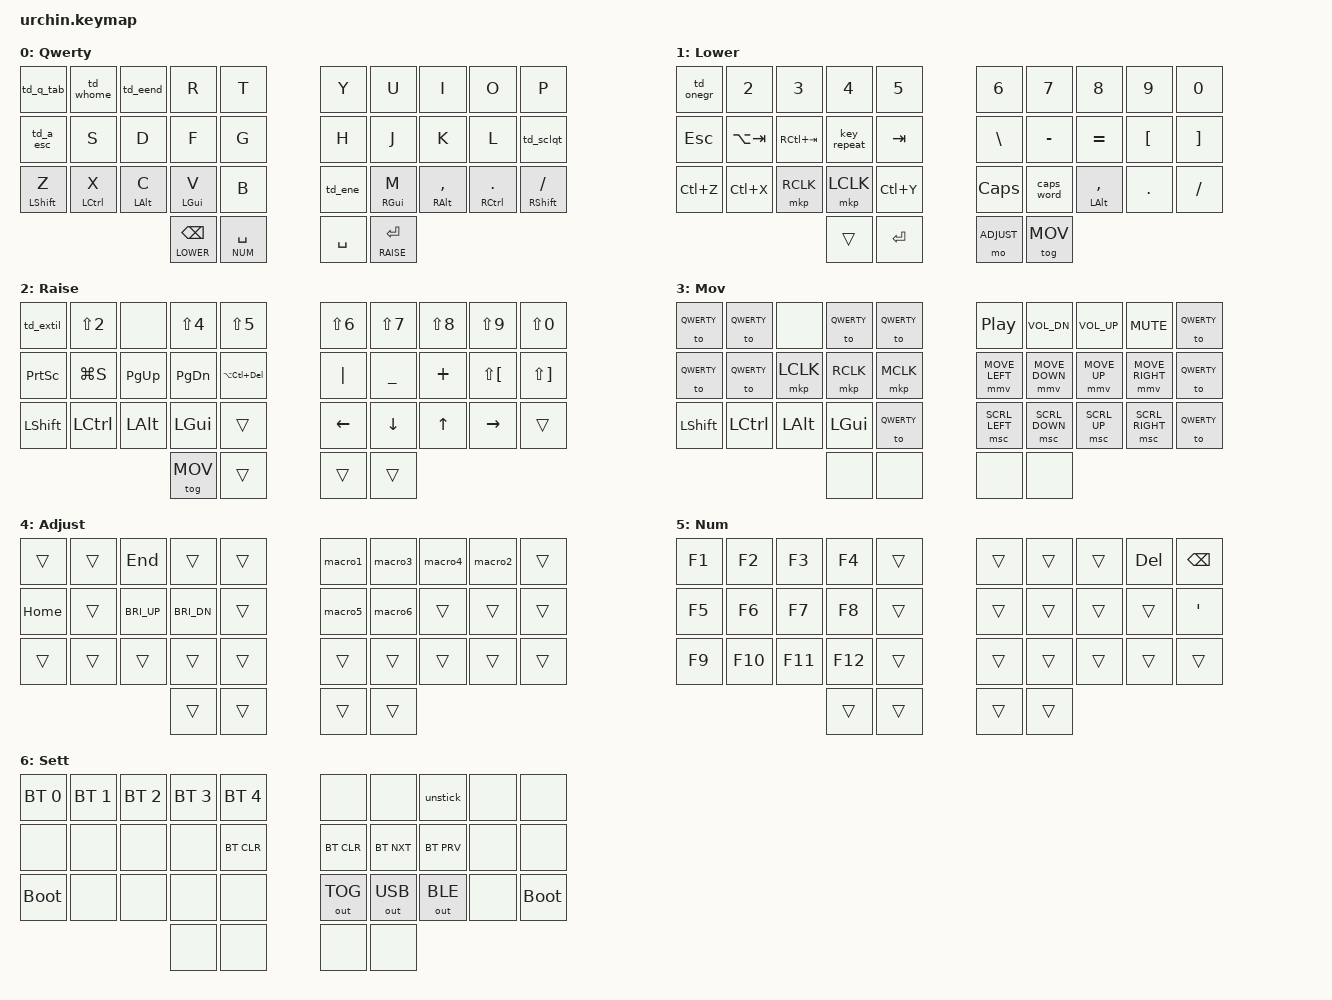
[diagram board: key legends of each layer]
/*
 * Copyright (c) 2020 duckyb
 *
 * SPDX-License-Identifier: MIT
 */

#include <behaviors.dtsi>
#include <dt-bindings/zmk/keys.h>
#include <dt-bindings/zmk/bt.h>
#include <dt-bindings/zmk/outputs.h>
#include <dt-bindings/zmk/pointing.h>

// Layer definitions
#define QWERTY 0
#define LOWER 1
#define RAISE 2
#define MOV 3
#define ADJUST 4
#define NUM 5
#define SETTINGS 6
// -----------------

&sk {
	// don't release mods on other mods presses
	ignore-modifiers;
};


/ {
	behaviors {
		// Enables holding the first mod-tap key
		// by performing a tap-release-hold sequence.
		// To use it: "&qt KEYCODE1 KEYCODE2"
		qt: quick_tap {
			compatible = "zmk,behavior-hold-tap";
			label = "QUICK_TAP";
			#binding-cells = <2>;
			flavor = "tap-preferred";
			tapping-term-ms = <200>;
			bindings = <&kp>, <&kp>;
		};
	};
	macros {
		// sometimes my device thinks a modifier is being held down
		// pressing all modifiers fixes it.
		unstick: unstick {
			label = "ZM_unstick";
			compatible = "zmk,behavior-macro";
			#binding-cells = <0>;
			bindings = <&kp LSHIFT &kp RSHIFT &kp LCTRL &kp RCTRL &kp LALT &kp RALT &kp LGUI &kp RGUI>;
		};

        macro1: macro_string_v1q {
            compatible = "zmk,behavior-macro";
            #binding-cells = <0>;
            bindings = <&kp V
                 &kp LS(N5)
                 &kp N1
                 &kp Q
                 &kp LS(N1)
                 &kp LS(T)
                 &kp LS(V)
                 &kp N6
                 &kp W
                 &kp LS(M)>;
        };

        macro2: macro_string_one {
            compatible = "zmk,behavior-macro";
            #binding-cells = <0>;
            bindings = <&kp Y &kp N0 &kp N4 &kp N5 &kp N7 &kp N5 &kp N9 &kp N5 &kp R
                    &kp LS(H) &kp N3 &kp C &kp T &kp N0 &kp R
                    &kp LS(R) &kp N3 &kp N4 &kp L &kp P &kp N3
                    &kp LS(C) &kp N4 &kp S &kp T &kp R &kp N1 &kp L &kp L &kp N0>;
        };

        macro3: macro_password_one {
            compatible = "zmk,behavior-macro";
            #binding-cells = <0>;
            bindings = <&kp LS(Z) &kp N9
                    &kp LS(T) &kp N4 &kp J &kp H &kp N4
                    &kp LS(Z) &kp Q &kp H &kp DLLR
                    &kp LS(B) &kp F &kp P &kp LS(I)>;
        };

        macro4: macro_number_one {
            compatible = "zmk,behavior-macro";
            #binding-cells = <0>;
            bindings = <&kp N2 &kp N4 &kp N1 &kp N7 &kp N9 &kp N0 &kp N6>;
        };

        macro5: macro_string_two {
            compatible = "zmk,behavior-macro";
            #binding-cells = <0>;
            bindings = <&kp LS(B) &kp N3 &kp L &kp DLLR &kp N
                    &kp LS(R) &kp V &kp N1 &kp Z
                    &kp LS(F) &kp N3 &kp R &kp N &kp DLLR &kp N &kp D &kp N3 &kp Z>;
        };

        macro6: macro_string_three {
            compatible = "zmk,behavior-macro";
            #binding-cells = <0>;
            bindings = <&kp N3 &kp S &kp T &kp R &kp N3 &kp L &kp L &kp N4
                    &kp LS(R) &kp N3 &kp N4 &kp L &kp P &kp N3
                    &kp AMPS
                    &kp LS(R) &kp V &kp N1 &kp Z>;
        };
	};

	combos {
		compatible = "zmk,combos";
		// both left thumb keys
		combo_settings {
			timeout-ms = <200>;
			key-positions = <30 31>;
			bindings = <&mo SETTINGS>;
		};
        combo_num {
            timeout-ms = <200>;
            key-positions = <31 33>;
            bindings = <&mo ADJUST>;
        };
	};

    tap_dances {
        td_q_tab: td_q_tab {
            compatible = "zmk,behavior-tap-dance";
            label = "TD_Q_TAB";
            #binding-cells = <0>;
            tapping-term-ms = <215>;
            bindings = <&kp Q &kp TAB>;
        };
        td_a_esc: td_a_esc {
            compatible = "zmk,behavior-tap-dance";
            label = "TD_A_ESC";
            #binding-cells = <0>;
            tapping-term-ms = <215>;
            bindings = <&kp A &kp ESC>;
        };
        td_onegr: td_onegr {
            compatible = "zmk,behavior-tap-dance";
            label = "TD_ONEGR";
            #binding-cells = <0>;
            tapping-term-ms = <215>;
            bindings = <&kp N1 &kp GRAVE>;
        };
        td_extil: td_extil {
            compatible = "zmk,behavior-tap-dance";
            label = "TD_EXTIL";
            #binding-cells = <0>;
            tapping-term-ms = <215>;
            bindings = <&kp LS(N1) &kp TILDE>;
        };
        td_sclqt: td_sclqt {
            compatible = "zmk,behavior-tap-dance";
            label = "TD_SCLQT";
            #binding-cells = <0>;
            tapping-term-ms = <215>;
            bindings = <&kp SCLN &kp QUOT>;
        };
        td_whome: td_whome {
            compatible = "zmk,behavior-tap-dance";
            label = "TD_WHOME";
            #binding-cells = <0>;
            tapping-term-ms = <215>;
            bindings = <&kp W &kp HOME>;
        };
        td_eend: td_eend {
            compatible = "zmk,behavior-tap-dance";
            label = "TD_EEND";
            #binding-cells = <0>;
            tapping-term-ms = <215>;
            bindings = <&kp E &kp END>;
        };
        td_ene: td_ene {
            compatible = "zmk,behavior-tap-dance";
            label = "TD_ENE";
            #binding-cells = <0>;
            tapping-term-ms = <215>;
            bindings = <&kp N &kp RA(N)>;
        };
    };

	keymap {
		compatible = "zmk,keymap";
		default_layer {
			label = "Qwerty";
			bindings = <
            &td_q_tab &td_whome &td_eend &kp R &kp T                &kp Y &kp U &kp I &kp O &kp P
            &td_a_esc &kp S &kp D &kp F &kp G                       &kp H &kp J &kp K &kp L &td_sclqt
            &qt LSHIFT Z &qt LCTRL X &qt LALT C &qt LGUI V &kp B    &td_ene &qt RGUI M &qt RALT COMMA &qt RCTRL DOT &qt RSHIFT SLASH
                                &lt LOWER BSPC &lt NUM SPACE        &kp SPACE &lt RAISE ENTER
            >;
		};

		lower_layer {
			label = "Lower";
			bindings = <
            &td_onegr &kp N2 &kp N3 &kp N4 &kp N5                       &kp N6 &kp N7 &kp N8 &kp N9 &kp N0
            &kp ESC &kp LA(TAB) &kp RC(TAB) &key_repeat  &kp TAB        &kp BSLH &kp MINUS &kp EQUAL &kp LBKT &kp RBKT
            &kp LC(Z) &kp LC(X) &mkp RCLK &mkp LCLK &kp LC(Y)           &kp CAPS &caps_word &qt LALT COMMA &kp DOT &kp SLASH
                                         &trans &kp ENTER               &mo ADJUST &tog MOV
			>;
		};

		raise_layer {
			label = "Raise";
			bindings = <
            &td_extil &kp LS(N2) &none &kp LS(N4) &kp LS(N5)                    &kp LS(N6) &kp LS(N7) &kp LS(N8) &kp LS(N9) &kp LS(N0)
            &kp PRINTSCREEN &kp LG(S) &kp PG_UP &kp PG_DN &kp LA(LC(DELETE))    &kp PIPE &kp UNDER &kp PLUS &kp LS(LBKT) &kp LS(RBKT)
            &kp LSHIFT &kp LCTRL &kp LALT &kp LGUI &trans                       &kp LEFT &kp DOWN &kp UP &kp RIGHT &trans
                                                &tog MOV &trans                  &trans &trans
			>;
		};

		mov_layer {
			label = "Mov";
			bindings = <
            &to QWERTY &to QWERTY &none &to QWERTY &to QWERTY       &kp C_PLAY_PAUSE &kp C_VOL_DN &kp C_VOL_UP &kp C_MUTE &to QWERTY
            &to QWERTY &to QWERTY &mkp LCLK &mkp RCLK &mkp MCLK     &mmv MOVE_LEFT &mmv MOVE_DOWN &mmv MOVE_UP &mmv MOVE_RIGHT &to QWERTY
            &kp LSHIFT &kp LCTRL &kp LALT &kp LGUI &to QWERTY       &msc SCRL_LEFT &msc SCRL_DOWN &msc SCRL_UP &msc SCRL_RIGHT &to QWERTY
                                                    &none &none    &none &none
			>;
		};

		adjust_layer {
			label = "Adjust";
			bindings = <
            &trans &trans &kp END &trans &trans         &macro1 &macro3 &macro4 &macro2 &trans
            &kp HOME &trans &kp C_BRI_UP &kp C_BRI_DN   &trans &macro5 &macro6 &trans &trans &trans
            &trans &trans &trans &trans &trans          &trans &trans &trans &trans &trans
                                    &trans &trans    &trans &trans
			>;
		};

		num_layer {
			label = "Num";
			bindings = <
            &kp F1 &kp F2  &kp F3  &kp F4  &trans      &trans &trans &trans &kp DEL &kp BSPC
            &kp F5 &kp F6  &kp F7  &kp F8  &trans      &trans &trans &trans &trans &kp QUOT
            &kp F9 &kp F10 &kp F11 &kp F12 &trans      &trans &trans &trans &trans &trans
                                    &trans &trans    &trans &trans
			>;
		};

		settings_layer {
			label = "Sett";
			bindings = <
			&bt BT_SEL 0 &bt BT_SEL 1 &bt BT_SEL 2 &bt BT_SEL 3 &bt BT_SEL 4    &none &none &unstick &none &none
			&none &none &none &none &bt BT_CLR                                  &bt BT_CLR &bt BT_NXT &bt BT_PRV &none &none
			&bootloader &none &none &none &none                                 &out OUT_TOG &out OUT_USB &out OUT_BLE &none &bootloader
									&none &none     &none &none

			>;
		};
	};
};
